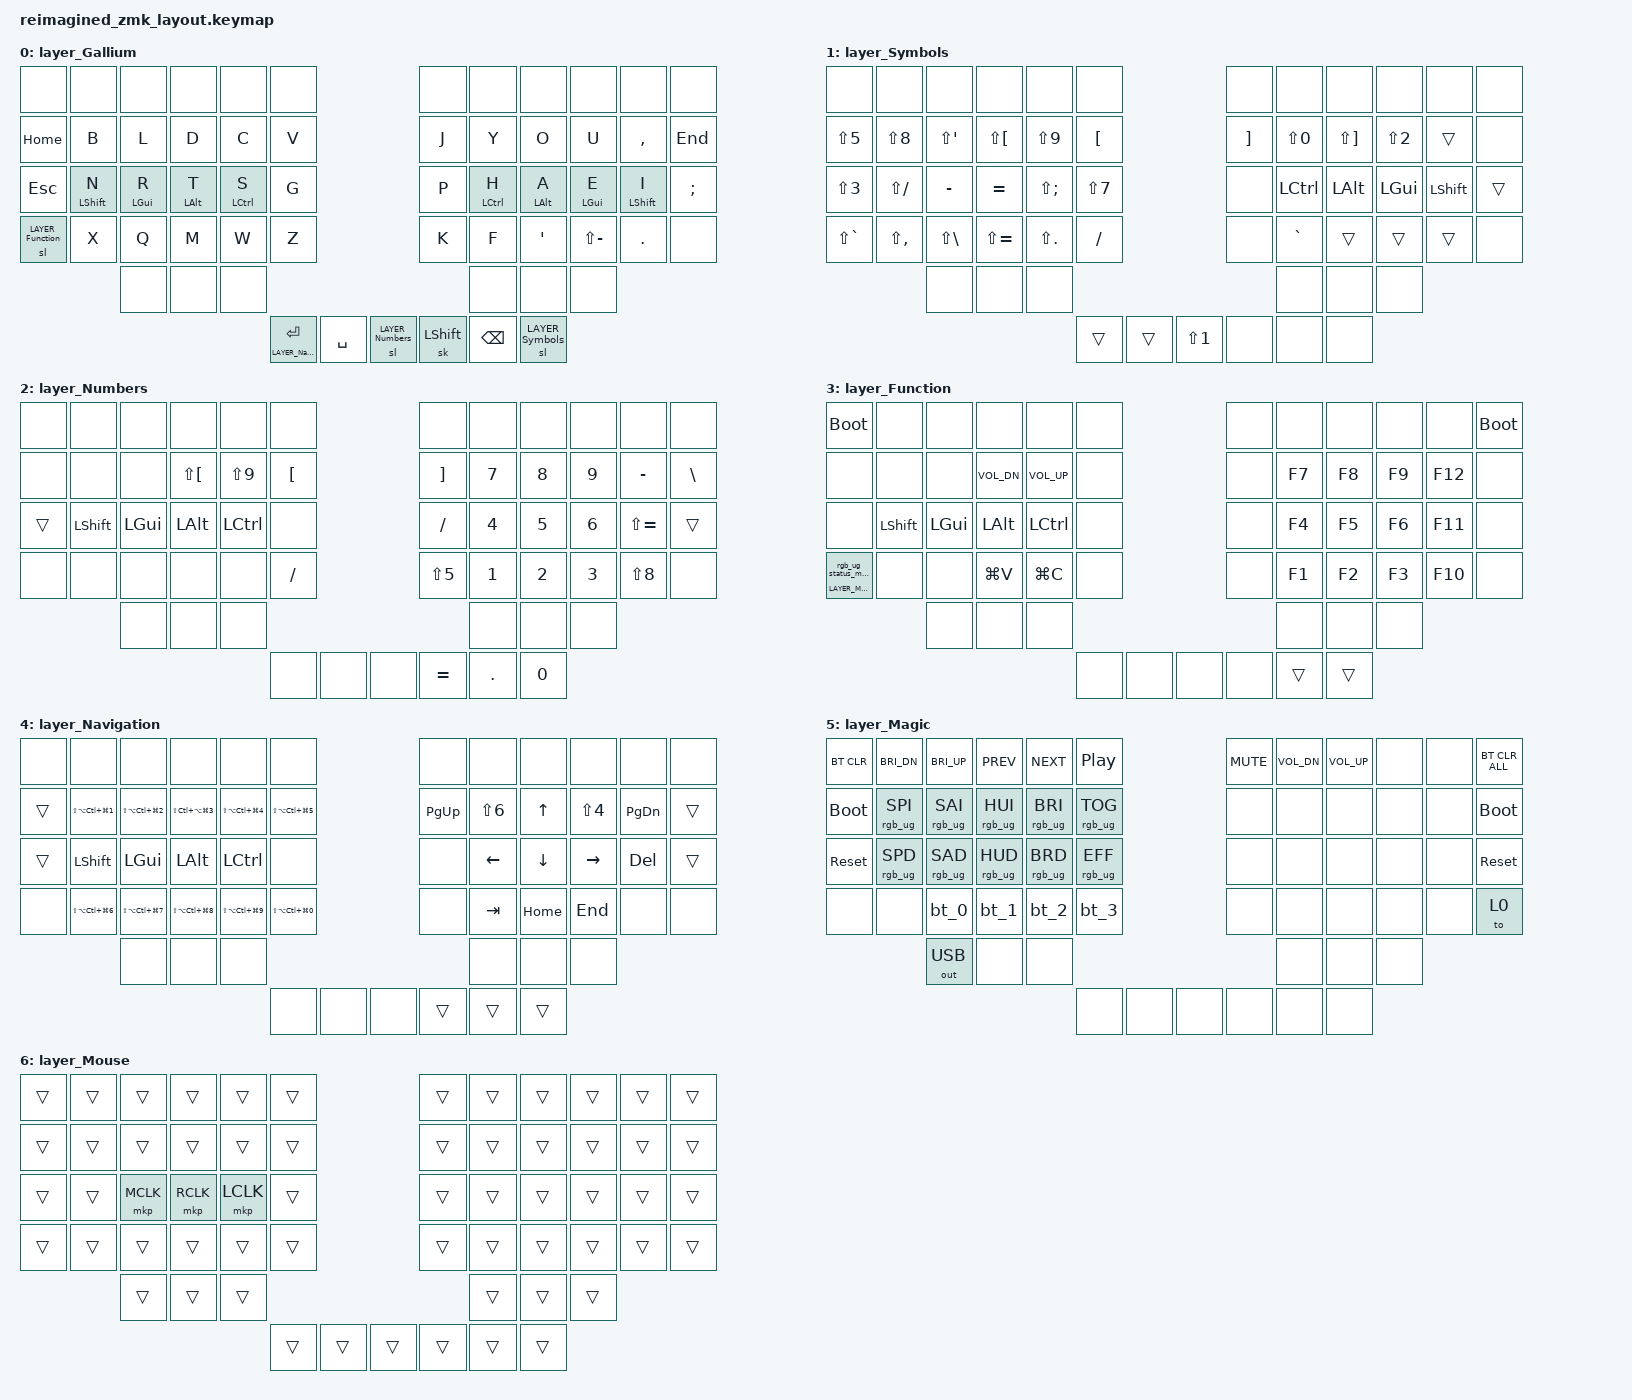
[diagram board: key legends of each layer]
/*
 * Copyright (c) 2020 The ZMK Contributors
 * Copyright (c) 2025 Innaworks Development Limited, trading as MoErgo
 *
 * SPDX-License-Identifier: MIT
 */


/* THIS FILE WAS GENERATED BY GO60 LAYOUT EDITOR
 *
 * This file was generated automatically. You may or may not want to
 * edit it directly.
 */

#include <behaviors.dtsi>

/* Include all behavior includes needed */

#include <dt-bindings/zmk/outputs.h>
#include <dt-bindings/zmk/keys.h>
#include <dt-bindings/zmk/bt.h>
#include <dt-bindings/zmk/rgb.h>

#include <input/processors.dtsi>
#include <dt-bindings/zmk/input_transform.h>
#include <zephyr/dt-bindings/input/input-event-codes.h>

/* On demand includes */
#include <dt-bindings/zmk/input_transform.h>
#include <dt-bindings/zmk/pointing.h>
#include <input/processors.dtsi>

/* Helper Macros, based on https://github.com/urob/zmk-helpers/ */

#pragma once

#define ZMK_HELPER_STRINGIFY(x) #x

// Preprocessor mechanism to overload macros, cf. https://stackoverflow.com/a/27051616/6114651
#define VARGS_(_10, _9, _8, _7, _6, _5, _4, _3, _2, _1, N, ...) N
#define VARGS(...) VARGS_(__VA_ARGS__, 10, 9, 8, 7, 6, 5, 4, 3, 2, 1, 0)
#define CONCAT_(a, b) a##b
#define CONCAT(a, b) CONCAT_(a, b)

#define ZMK_BEHAVIOR_CORE_tap_dance  \
    compatible = "zmk,behavior-tap-dance"; \
    #binding-cells = <0>

#define ZMK_BEHAVIOR(name, type, ...) \
    name: name { \
        ZMK_BEHAVIOR_CORE_ ## type; \
        __VA_ARGS__ \
    };

#define ZMK_TAP_DANCE(name, ...) \
    ZMK_BEHAVIOR(name, tap_dance, __VA_ARGS__)

#define ZMK_TD_LAYER(name, layer) \
    ZMK_TAP_DANCE(name, \
        tapping-term-ms = <200>; \
        bindings = <&mo layer>, <&to layer>; \
)





/* Key positions */

#define POS_LH_C6R1 0
#define POS_LH_C5R1 1
#define POS_LH_C4R1 2
#define POS_LH_C3R1 3
#define POS_LH_C2R1 4
#define POS_LH_C1R1 5
#define POS_RH_C1R1 6
#define POS_RH_C2R1 7
#define POS_RH_C3R1 8
#define POS_RH_C4R1 9
#define POS_RH_C5R1 10
#define POS_RH_C6R1 11
#define POS_LH_C6R2 12
#define POS_LH_C5R2 13
#define POS_LH_C4R2 14
#define POS_LH_C3R2 15
#define POS_LH_C2R2 16
#define POS_LH_C1R2 17
#define POS_RH_C1R2 18
#define POS_RH_C2R2 19
#define POS_RH_C3R2 20
#define POS_RH_C4R2 21
#define POS_RH_C5R2 22
#define POS_RH_C6R2 23
#define POS_LH_C6R3 24
#define POS_LH_C5R3 25
#define POS_LH_C4R3 26
#define POS_LH_C3R3 27
#define POS_LH_C2R3 28
#define POS_LH_C1R3 29
#define POS_RH_C1R3 30
#define POS_RH_C2R3 31
#define POS_RH_C3R3 32
#define POS_RH_C4R3 33
#define POS_RH_C5R3 34
#define POS_RH_C6R3 35
#define POS_LH_C6R4 36
#define POS_LH_C5R4 37
#define POS_LH_C4R4 38
#define POS_LH_C3R4 39
#define POS_LH_C2R4 40
#define POS_LH_C1R4 41
#define POS_RH_C1R4 42
#define POS_RH_C2R4 43
#define POS_RH_C3R4 44
#define POS_RH_C4R4 45
#define POS_RH_C5R4 46
#define POS_RH_C6R4 47
#define POS_LH_C4R5 48
#define POS_LH_C3R5 49
#define POS_LH_C2R5 50
#define POS_RH_C2R5 51
#define POS_RH_C3R5 52
#define POS_RH_C4R5 53
#define POS_LH_T1 54
#define POS_LH_T2 55
#define POS_LH_T3 56
#define POS_RH_T3 57
#define POS_RH_T2 58
#define POS_RH_T1 59


#define LEFT_HAND_KEYS \
  POS_LH_C1R1 POS_LH_C2R1 POS_LH_C3R1 POS_LH_C4R1 POS_LH_C5R1 POS_LH_C6R1 \
  POS_LH_C1R2 POS_LH_C2R2 POS_LH_C3R2 POS_LH_C4R2 POS_LH_C5R2 POS_LH_C6R2 \
  POS_LH_C1R3 POS_LH_C2R3 POS_LH_C3R3 POS_LH_C4R3 POS_LH_C5R3 POS_LH_C6R3 \
  POS_LH_C1R4 POS_LH_C2R4 POS_LH_C3R4 POS_LH_C4R4 POS_LH_C5R4 POS_LH_C6R4 \
              POS_LH_C2R5 POS_LH_C3R5 POS_LH_C4R5

#define RIGHT_HAND_KEYS \
  POS_RH_C1R1 POS_RH_C2R1 POS_RH_C3R1 POS_RH_C4R1 POS_RH_C5R1 POS_RH_C6R1 \
  POS_RH_C1R2 POS_RH_C2R2 POS_RH_C3R2 POS_RH_C4R2 POS_RH_C5R2 POS_RH_C6R2 \
  POS_RH_C1R3 POS_RH_C2R3 POS_RH_C3R3 POS_RH_C4R3 POS_RH_C5R3 POS_RH_C6R3 \
  POS_RH_C1R4 POS_RH_C2R4 POS_RH_C3R4 POS_RH_C4R4 POS_RH_C5R4 POS_RH_C6R4 \
              POS_RH_C2R5 POS_RH_C3R5 POS_RH_C4R5

#define THUMB_KEYS \
  POS_LH_T1 POS_LH_T2 POS_LH_T3 \
  POS_RH_T1 POS_RH_T2 POS_RH_T3


/* Automatically generated layer name #define */
#define LAYER_Gallium 0
#define LAYER_Symbols 1
#define LAYER_Numbers 2
#define LAYER_Function 3
#define LAYER_Navigation 4
#define LAYER_Magic 5
#define LAYER_Mouse 6

/* To deal with the situation where there is no Lower layer, to keep &lower happy */
#ifndef LAYER_Lower
#define LAYER_Lower 0
#endif

/* Generated input processors */


/* Custom Device-tree */


/* Input Listeners */
&cirque_lh_listener {
    input-processors = <&zip_xy_to_scroll_mapper>, <&zip_scroll_scaler 1 8>;
};

&cirque_rh_listener {
    input-processors = <&zip_temp_layer 0 100>;
};

/* System behavior and macros */
/ {
    behaviors {
        ZMK_TD_LAYER(lower, LAYER_Lower)
    };
};

/ {
    macros {
        rgb_ug_status_macro: rgb_ug_status_macro {
            label = "RGB_UG_STATUS";
            compatible = "zmk,behavior-macro";
            #binding-cells = <0>;
            bindings
                = <&rgb_ug RGB_STATUS>;
        };
    };
};

/ {
#ifdef BT_DISC_CMD
    behaviors {
        bt_0: bt_0 {
            compatible = "zmk,behavior-tap-dance";
            label = "BT_0";
            #binding-cells = <0>;
            tapping-term-ms = <200>;
            bindings = <&bt_select_0>, <&bt BT_DISC 0>;
        };
        bt_1: bt_1 {
            compatible = "zmk,behavior-tap-dance";
            label = "BT_1";
            #binding-cells = <0>;
            tapping-term-ms = <200>;
            bindings = <&bt_select_1>, <&bt BT_DISC 1>;
        };
        bt_2: bt_2 {
            compatible = "zmk,behavior-tap-dance";
            label = "BT_2";
            #binding-cells = <0>;
            tapping-term-ms = <200>;
            bindings = <&bt_select_2>, <&bt BT_DISC 2>;
        };
        bt_3: bt_3 {
            compatible = "zmk,behavior-tap-dance";
            label = "BT_3";
            #binding-cells = <0>;
            tapping-term-ms = <200>;
            bindings = <&bt_select_3>, <&bt BT_DISC 3>;
        };
    };
    macros {
        bt_select_0: bt_select_0 {
            label = "BT_SELECT_0";
            compatible = "zmk,behavior-macro";
            #binding-cells = <0>;
            bindings
                = <&out OUT_BLE>,
                  <&bt BT_SEL 0>;
        };
        bt_select_1: bt_select_1 {
            label = "BT_SELECT_1";
            compatible = "zmk,behavior-macro";
            #binding-cells = <0>;
            bindings
                = <&out OUT_BLE>,
                  <&bt BT_SEL 1>;
        };
        bt_select_2: bt_select_2 {
            label = "BT_SELECT_2";
            compatible = "zmk,behavior-macro";
            #binding-cells = <0>;
            bindings
                = <&out OUT_BLE>,
                  <&bt BT_SEL 2>;
        };
        bt_select_3: bt_select_3 {
            label = "BT_SELECT_3";
            compatible = "zmk,behavior-macro";
            #binding-cells = <0>;
            bindings
                = <&out OUT_BLE>,
                  <&bt BT_SEL 3>;
        };
    };
#else
    macros {
        bt_0: bt_0 {
            label = "BT_0";
            compatible = "zmk,behavior-macro";
            #binding-cells = <0>;
            bindings
                = <&out OUT_BLE>,
                  <&bt BT_SEL 0>;
        };
        bt_1: bt_1 {
            label = "BT_1";
            compatible = "zmk,behavior-macro";
            #binding-cells = <0>;
            bindings
                = <&out OUT_BLE>,
                  <&bt BT_SEL 1>;
        };
        bt_2: bt_2 {
            label = "BT_2";
            compatible = "zmk,behavior-macro";
            #binding-cells = <0>;
            bindings
                = <&out OUT_BLE>,
                  <&bt BT_SEL 2>;
        };
        bt_3: bt_3 {
            label = "BT_3";
            compatible = "zmk,behavior-macro";
            #binding-cells = <0>;
            bindings
                = <&out OUT_BLE>,
                  <&bt BT_SEL 3>;
        };
    };
#endif
};

/ {
    behaviors {
        magic: magic {
            compatible = "zmk,behavior-hold-tap";
            label = "MAGIC_HOLD_TAP";
            #binding-cells = <2>;
            flavor = "tap-preferred";
            tapping-term-ms = <200>;
            bindings = <&mo>, <&rgb_ug_status_macro>;
        };
    };
};


/* Custom Defined Behaviors */
/ {
behaviors {
  hrm: home_row_mod {
    compatible = "zmk,behavior-hold-tap";
    #binding-cells = <2>;
    flavor = "balanced";
    tapping-term-ms = <200>;
    quick-tap-ms = <200>;
    require-prior-idle-ms = <125>;
    bindings = <&kp>, <&kp>;
  };
  lhrm: left_home_row {
    compatible = "zmk,behavior-hold-tap";
    #binding-cells = <2>;
    flavor = "balanced";
    tapping-term-ms = <300>;
    quick-tap-ms = <150>;
    bindings = <&kp>, <&kp>;
    require-prior-idle-ms = <150>;
    hold-trigger-on-release;
    hold-trigger-key-positions = <28>, <29>, <30>, <31>, <32>, <40>, <41>, <42>, <43>, <44>, <58>, <59>, <60>, <61>, <62>, <73>, <74>, <69>, <70>;
  };
  rhrm: right_home_row {
    compatible = "zmk,behavior-hold-tap";
    #binding-cells = <2>;
    flavor = "balanced";
    tapping-term-ms = <300>;
    quick-tap-ms = <150>;
    bindings = <&kp>, <&kp>;
    require-prior-idle-ms = <150>;
    hold-trigger-on-release;
    hold-trigger-key-positions = <23>, <24>, <25>, <26>, <27>, <35>, <36>, <37>, <38>, <39>, <47>, <48>, <49>, <50>, <51>, <69>, <70>, <73>, <74>;
  };
  hlt: hold_layer_tap {
    compatible = "zmk,behavior-hold-tap";
    #binding-cells = <2>;
    flavor = "hold-preferred";
    tapping-term-ms = <200>;
    quick-tap-ms = <200>;
    bindings = <&mo>, <&kp>;
  };
  hlts: hold_layer_tap_space {
    compatible = "zmk,behavior-hold-tap";
    #binding-cells = <2>;
    flavor = "tap-preferred";
    tapping-term-ms = <200>;
    quick-tap-ms = <200>;
    bindings = <&mo>, <&kp>;
  };
  sticky_tap_dance: sticky_tap_dance {
    compatible = "zmk,behavior-tap-dance";
    #binding-cells = <0>;
    tapping-term-ms = <200>;
    bindings = <&sk LSHIFT>, <&caps_word>;
  };
  quick_shift: quick_shift {
    compatible = "zmk,behavior-sticky-key";
    #binding-cells = <1>;
    bindings = <&kp>;
    release-after-ms = <1000>;
    quick-release;
  };
  shift_hold_tap: shift_hold_tap {
    compatible = "zmk,behavior-hold-tap";
    #binding-cells = <2>;
    flavor = "tap-preferred";
    tapping-term-ms = <200>;
    quick-tap-ms = <200>;
    bindings = <&mo>, <&quick_shift>;
  };
};
};

/* Automatically generated macro definitions */
/ {
    macros {

    };
};

/* Automatically generated behavior definitions */
/ {
    behaviors {


    };
};

/* Automatically generated combos definitions */
/ {
    combos {
        compatible = "zmk,combos";

        // caps word
        combo_combo_caps_word {
            key-positions = <POS_LH_C5R3 POS_RH_C5R3>;
            bindings = <&caps_word>;
            layers = <LAYER_Navigation>;
        };
    };
};

/* Automatically generated keymap */
/ {
    keymap {
        compatible = "zmk,keymap";


        layer_Gallium {
            bindings = <
              &none           &none         &none         &none          &none   &none                                                                                                      &none          &none         &none          &none           &none     &none
           &kp HOME           &kp B         &kp L         &kp D          &kp C   &kp V                                                                                                      &kp J          &kp Y         &kp O          &kp U       &kp COMMA   &kp END
            &kp ESC  &lhrm LSHIFT N  &lhrm LGUI R  &lhrm LALT T  &lhrm LCTRL S   &kp G                                                                                                      &kp P  &rhrm LCTRL H  &rhrm LALT A   &rhrm LGUI E  &rhrm LSHIFT I  &kp SEMI
 &sl LAYER_Function           &kp X         &kp Q         &kp M          &kp W   &kp Z                                                                                                      &kp K          &kp F       &kp SQT  &kp LS(MINUS)         &kp DOT     &none
                                            &none         &none          &none                                                                                                                             &none         &none          &none
                                                                                        &hlt LAYER_Navigation ENTER  &kp SPACE  &sl LAYER_Numbers  &sk LSHFT  &kp BSPC  &sl LAYER_Symbols
            >;
        };

        layer_Symbols {
            bindings = <
         &none          &none         &none          &none         &none       &none                                                         &none       &none         &none       &none      &none   &none
    &kp LS(N5)     &kp LS(N8)   &kp LS(SQT)   &kp LS(LBKT)    &kp LS(N9)    &kp LBKT                                                      &kp RBKT  &kp LS(N0)  &kp LS(RBKT)  &kp LS(N2)     &trans   &none
    &kp LS(N3)   &kp LS(FSLH)     &kp MINUS      &kp EQUAL  &kp LS(SEMI)  &kp LS(N7)                                                         &none   &kp LCTRL      &kp LALT    &kp LGUI  &kp LSHFT  &trans
 &kp LS(GRAVE)  &kp LS(COMMA)  &kp LS(BSLH)  &kp LS(EQUAL)   &kp LS(DOT)    &kp FSLH                                                         &none   &kp GRAVE        &trans      &trans     &trans   &none
                                      &none          &none         &none                                                                                 &none         &none       &none
                                                                                      &trans  &trans  &kp LS(N1)   &none   &none   &none
            >;
        };

        layer_Numbers {
            bindings = <
  &none      &none     &none         &none       &none     &none                                                           &none   &none   &none   &none          &none     &none
  &none      &none     &none  &kp LS(LBKT)  &kp LS(N9)  &kp LBKT                                                        &kp RBKT  &kp N7  &kp N8  &kp N9      &kp MINUS  &kp BSLH
 &trans  &kp LSHFT  &kp LGUI      &kp LALT   &kp LCTRL     &none                                                        &kp FSLH  &kp N4  &kp N5  &kp N6  &kp LS(EQUAL)    &trans
  &none      &none     &none         &none       &none  &kp FSLH                                                      &kp LS(N5)  &kp N1  &kp N2  &kp N3     &kp LS(N8)     &none
                       &none         &none       &none                                                                             &none   &none   &none
                                                                   &none   &none   &none  &kp EQUAL  &kp DOT  &kp N0
            >;
        };

        layer_Function {
            bindings = <
          &bootloader      &none     &none         &none         &none   &none                                                   &none   &none   &none   &none    &none  &bootloader
                &none      &none     &none  &kp K_VOL_DN  &kp K_VOL_UP   &none                                                   &none  &kp F7  &kp F8  &kp F9  &kp F12        &none
                &none  &kp LSHFT  &kp LGUI      &kp LALT     &kp LCTRL   &none                                                   &none  &kp F4  &kp F5  &kp F6  &kp F11        &none
 &magic LAYER_Magic 0      &none     &none     &kp LG(V)     &kp LG(C)   &none                                                   &none  &kp F1  &kp F2  &kp F3  &kp F10        &none
                                     &none         &none         &none                                                                   &none   &none   &none
                                                                                 &none   &none   &none   &none  &trans  &trans
            >;
        };

        layer_Navigation {
            bindings = <
  &none                   &none                   &none                   &none                   &none                   &none                                                      &none       &none     &none       &none      &none   &none
 &trans  &kp LS(LA(LC(LG(N1))))  &kp LS(LA(LC(LG(N2))))  &kp LS(LC(LA(LG(N3))))  &kp LS(LA(LC(LG(N4))))  &kp LS(LA(LC(LG(N5))))                                                  &kp PG_UP  &kp LS(N6)    &kp UP  &kp LS(N4)  &kp PG_DN  &trans
 &trans               &kp LSHFT                &kp LGUI                &kp LALT               &kp LCTRL                   &none                                                      &none    &kp LEFT  &kp DOWN   &kp RIGHT    &kp DEL  &trans
  &none  &kp LS(LA(LC(LG(N6))))  &kp LS(LA(LC(LG(N7))))  &kp LS(LA(LC(LG(N8))))  &kp LS(LA(LC(LG(N9))))  &kp LS(LA(LC(LG(N0))))                                                      &none     &kp TAB  &kp HOME     &kp END      &none   &none
                                                  &none                   &none                   &none                                                                                          &none     &none       &none
                                                                                                                                  &none   &none   &none  &trans  &trans  &trans
            >;
        };

        layer_Magic {
            bindings = <
  &bt BT_CLR     &kp C_BRI_DN     &kp C_BRI_UP       &kp C_PREV       &kp C_NEXT         &kp C_PP                                                  &kp C_MUTE  &kp C_VOL_DN  &kp C_VOL_UP   &none   &none  &bt BT_CLR_ALL
 &bootloader  &rgb_ug RGB_SPI  &rgb_ug RGB_SAI  &rgb_ug RGB_HUI  &rgb_ug RGB_BRI  &rgb_ug RGB_TOG                                                       &none         &none         &none   &none   &none     &bootloader
  &sys_reset  &rgb_ug RGB_SPD  &rgb_ug RGB_SAD  &rgb_ug RGB_HUD  &rgb_ug RGB_BRD  &rgb_ug RGB_EFF                                                       &none         &none         &none   &none   &none      &sys_reset
       &none            &none            &bt_0            &bt_1            &bt_2            &bt_3                                                       &none         &none         &none   &none   &none           &to 0
                                  &out OUT_USB            &none            &none                                                                                      &none         &none   &none
                                                                                                    &none   &none   &none   &none   &none   &none
            >;
        };

        layer_Mouse {
            bindings = <
 &trans  &trans     &trans     &trans     &trans  &trans                                                  &trans  &trans  &trans  &trans  &trans  &trans
 &trans  &trans     &trans     &trans     &trans  &trans                                                  &trans  &trans  &trans  &trans  &trans  &trans
 &trans  &trans  &mkp MCLK  &mkp RCLK  &mkp LCLK  &trans                                                  &trans  &trans  &trans  &trans  &trans  &trans
 &trans  &trans     &trans     &trans     &trans  &trans                                                  &trans  &trans  &trans  &trans  &trans  &trans
                    &trans     &trans     &trans                                                                  &trans  &trans  &trans
                                                          &trans  &trans  &trans  &trans  &trans  &trans
            >;
        };

    };
};
